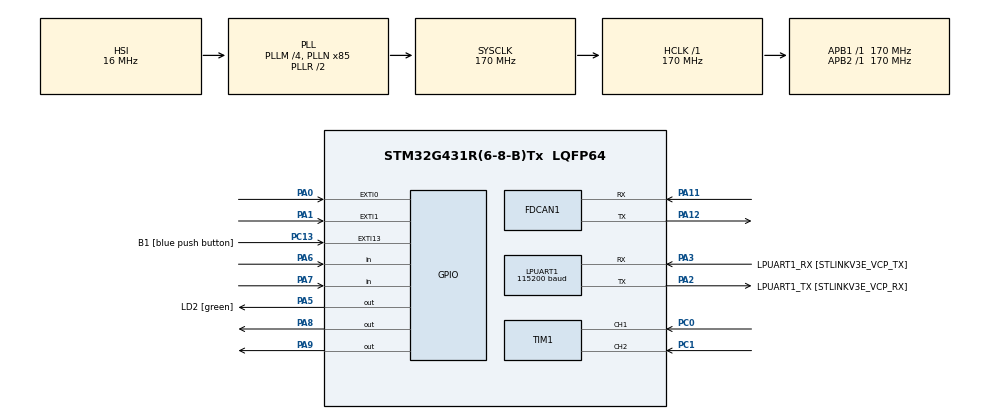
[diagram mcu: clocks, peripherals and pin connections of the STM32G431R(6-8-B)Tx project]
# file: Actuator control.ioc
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FDCAN1.CalculateBaudRateNominal=2125000
FDCAN1.CalculateTimeBitNominal=470
FDCAN1.CalculateTimeQuantumNominal=94.11764705882354
FREERTOS.BinarySemaphores01=myBinarySem01,Dynamic,NULL;myBinarySem02,Dynamic,NULL;myBinarySem03,Dynamic,NULL
FREERTOS.Tasks01=RelayControl,-1,128,RelayControlTask,Default,NULL,Dynamic,NULL,NULL;EncoderContol,0,128,EncoderTask,Default,NULL,Dynamic,NULL,NULL;PIDContol,1,128,PIDControllerTask,Default,NULL,Dynamic,NULL,NULL
FREERTOS.configUSE_NEWLIB_REENTRANT=1
LPUART1.BaudRate=115200
LPUART1.WordLength=UART_WORDLENGTH_8B
Mcu.Family=STM32G4
Mcu.Name=STM32G431R(6-8-B)Tx
Mcu.Package=LQFP64
NVIC.EXTI0_IRQn=true\:5\:0\:false\:false\:true\:true\:true\:true\:true
NVIC.EXTI1_IRQn=true\:5\:0\:false\:false\:true\:true\:true\:true\:true
NVIC.PriorityGroup=NVIC_PRIORITYGROUP_4
NVIC.TIM6_DAC_IRQn=true\:15\:0\:false\:false\:true\:false\:false\:true\:true
NVIC.TimeBase=TIM6_DAC_IRQn
NVIC.TimeBaseIP=TIM6
PA0.Signal=GPXTI0
PA1.Signal=GPXTI1
PA11.Mode=FDCAN_Activate
PA11.Signal=FDCAN1_RX
PA12.Mode=FDCAN_Activate
PA12.Signal=FDCAN1_TX
PA13.GPIO_Label=T_SWDIO
PA13.Mode=Serial_Wire
PA13.Signal=SYS_JTMS-SWDIO
PA14.GPIO_Label=T_SWCLK
PA14.Mode=Serial_Wire
PA14.Signal=SYS_JTCK-SWCLK
PA2.GPIO_Label=LPUART1_TX [STLINKV3E_VCP_RX]
PA2.Mode=Asynchronous
PA2.Signal=LPUART1_TX
PA3.GPIO_Label=LPUART1_RX [STLINKV3E_VCP_TX]
PA3.Mode=Asynchronous
PA3.Signal=LPUART1_RX
PA5.GPIO_Label=LD2 [green]
PA5.Signal=GPIO_Output
PA6.Signal=GPIO_Input
PA7.Signal=GPIO_Input
PA8.Signal=GPIO_Output
PA9.Signal=GPIO_Output
PB3.GPIO_Label=T_SWO
PB3.Signal=SYS_JTDO-SWO
PC0.Signal=S_TIM1_CH1
PC1.Signal=S_TIM1_CH2
PC13.GPIO_Label=B1 [blue push button]
PC13.Signal=GPXTI13
PC14-OSC32_IN.Mode=LSE-External-Oscillator
PC14-OSC32_IN.Signal=RCC_OSC32_IN
PC15-OSC32_OUT.Mode=LSE-External-Oscillator
PC15-OSC32_OUT.Signal=RCC_OSC32_OUT
PF0-OSC_IN.Mode=HSE-External-Oscillator
PF0-OSC_IN.Signal=RCC_OSC_IN
PF1-OSC_OUT.Mode=HSE-External-Oscillator
PF1-OSC_OUT.Signal=RCC_OSC_OUT
ProjectManager.HeapSize=0x200
ProjectManager.StackSize=0x400
ProjectManager.TargetToolchain=STM32CubeIDE
RCC.ADC12Freq_Value=170000000
RCC.AHBFreq_Value=170000000
RCC.APB1Freq_Value=170000000
RCC.APB1TimFreq_Value=170000000
RCC.APB2Freq_Value=170000000
RCC.APB2TimFreq_Value=170000000
RCC.CortexFreq_Value=170000000
RCC.EXTERNAL_CLOCK_VALUE=12288000
RCC.HCLKFreq_Value=170000000
RCC.HSE_VALUE=24000000
RCC.HSI48_VALUE=48000000
RCC.HSI_VALUE=16000000
RCC.PLLM=RCC_PLLM_DIV4
RCC.PLLN=85
RCC.RTCClockSelection=RCC_RTCCLKSOURCE_LSE
RCC.SYSCLKFreq_VALUE=170000000
RCC.SYSCLKSource=RCC_SYSCLKSOURCE_PLLCLK
RCC.USBFreq_Value=170000000
RCC.VCOOutputFreq_Value=340000000
SH.S_TIM1_CH1.0=TIM1_CH1,Encoder_Interface
SH.S_TIM1_CH2.0=TIM1_CH2,Encoder_Interface
TIM1.AutoReloadPreload=TIM_AUTORELOAD_PRELOAD_ENABLE
TIM1.EncoderMode=TIM_ENCODERMODE_TI12
VP_FREERTOS_VS_CMSIS_V1.Mode=CMSIS_V1
VP_SYS_VS_DBSignals.Mode=DisableDeadBatterySignals
VP_SYS_VS_tim6.Mode=TIM6
board=NUCLEO-G431RB

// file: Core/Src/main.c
/* USER CODE BEGIN Header */
/**
  ******************************************************************************
  * @file           : main.c
  * @brief          : Main program body
  * @code copyrights: Dhinesh Kumar S B.E EIE, M.Tech EDT (Embedded Domain)
  ******************************************************************************
  * @attention
  *
  * Copyright (c) 2023 STMicroelectronics.
  * All rights reserved.
  *
  * This software is licensed under terms that can be found in the LICENSE file
  * in the root directory of this software component.
  * If no LICENSE file comes with this software, it is provided AS-IS.
  *
  ******************************************************************************
  */
/* USER CODE END Header */
#include "main.h"
#include "cmsis_os.h"

/* USER CODE BEGIN Includes */
#include "pid.h"
#include "stdlib.h"
#include "math.h"
#include "stdio.h"
/* USER CODE END Includes */

/* USER CODE BEGIN PD */
// Define pins for rotary encoder
#define ENCODER_A_Pin GPIO_PIN_6
#define ENCODER_A_GPIO_Port GPIOA
#define ENCODER_B_Pin GPIO_PIN_7
#define ENCODER_B_GPIO_Port GPIOA
#define ANGLE_PER_PULSE 0.9 // degrees per encoder pulse
#define PULSES_PER_REV 400 // pulses per revolution
/* Define the pins for the relays */
#define RELAY1_Pin GPIO_PIN_8
#define RELAY1_GPIO_Port GPIOA
#define RELAY2_Pin GPIO_PIN_9
#define RELAY2_GPIO_Port GPIOA
/* USER CODE END PD */

FDCAN_HandleTypeDef hfdcan1;

UART_HandleTypeDef hlpuart1;

TIM_HandleTypeDef htim1;

osThreadId RelayControlHandle;
osThreadId EncoderContolHandle;
osThreadId PIDContolHandle;
osSemaphoreId myBinarySem01Handle;
osSemaphoreId myBinarySem02Handle;
osSemaphoreId myBinarySem03Handle;

void SystemClock_Config(void);
static void MX_GPIO_Init(void);
static void MX_LPUART1_UART_Init(void);
static void MX_TIM1_Init(void);
static void MX_FDCAN1_Init(void);
void RelayControlTask(void const * argument);
void EncoderTask(void const * argument);
void PIDControllerTask(void const * argument);

int main(void)
{

  /* MCU Configuration--------------------------------------------------------*/

  /* Reset of all peripherals, Initializes the Flash interface and the Systick. */
	HAL_Init();

  /* Configure the system clock */
  SystemClock_Config();

  /* Initialize all configured peripherals */
  MX_GPIO_Init();
  MX_LPUART1_UART_Init();
  MX_TIM1_Init();
  MX_FDCAN1_Init();

  /* Create the semaphores(s) */
  /* definition and creation of myBinarySem01 */
  osSemaphoreDef(myBinarySem01);
  myBinarySem01Handle = osSemaphoreCreate(osSemaphore(myBinarySem01), 1);

  /* definition and creation of myBinarySem02 */
  osSemaphoreDef(myBinarySem02);
  myBinarySem02Handle = osSemaphoreCreate(osSemaphore(myBinarySem02), 1);

  /* definition and creation of myBinarySem03 */
  osSemaphoreDef(myBinarySem03);
  myBinarySem03Handle = osSemaphoreCreate(osSemaphore(myBinarySem03), 1);

  /* Create the thread(s) */
  /* definition and creation of RelayControl */
  osThreadDef(RelayControl, RelayControlTask, osPriorityNormal, 0, 128);
  RelayControlHandle = osThreadCreate(osThread(RelayControl), NULL);

  /* definition and creation of EncoderContol */
  osThreadDef(EncoderContol, EncoderTask, osPriorityBelowNormal, 0, 128);
  EncoderContolHandle = osThreadCreate(osThread(EncoderContol), NULL);

  /* definition and creation of PIDContol */
  osThreadDef(PIDContol, PIDControllerTask, osPriorityAboveNormal, 0, 128);
  PIDContolHandle = osThreadCreate(osThread(PIDContol), NULL);

  /* Start scheduler */
  osKernelStart();

  /* We should never get here as control is now taken by the scheduler */
  /* Infinite loop */
  while (1)
  {

  }
}

void SystemClock_Config(void)
{
  RCC_OscInitTypeDef RCC_OscInitStruct = {0};
  RCC_ClkInitTypeDef RCC_ClkInitStruct = {0};

  /** Configure the main internal regulator output voltage
  */
  HAL_PWREx_ControlVoltageScaling(PWR_REGULATOR_VOLTAGE_SCALE1_BOOST);

  /** Initializes the RCC Oscillators according to the specified parameters
  * in the RCC_OscInitTypeDef structure.
  */
  RCC_OscInitStruct.OscillatorType = RCC_OSCILLATORTYPE_HSI;
  RCC_OscInitStruct.HSIState = RCC_HSI_ON;
  RCC_OscInitStruct.HSICalibrationValue = RCC_HSICALIBRATION_DEFAULT;
  RCC_OscInitStruct.PLL.PLLState = RCC_PLL_ON;
  RCC_OscInitStruct.PLL.PLLSource = RCC_PLLSOURCE_HSI;
  RCC_OscInitStruct.PLL.PLLM = RCC_PLLM_DIV4;
  RCC_OscInitStruct.PLL.PLLN = 85;
  RCC_OscInitStruct.PLL.PLLP = RCC_PLLP_DIV2;
  RCC_OscInitStruct.PLL.PLLQ = RCC_PLLQ_DIV2;
  RCC_OscInitStruct.PLL.PLLR = RCC_PLLR_DIV2;
  if (HAL_RCC_OscConfig(&RCC_OscInitStruct) != HAL_OK)
  {
    Error_Handler();
  }

  /** Initializes the CPU, AHB and APB buses clocks
  */
  RCC_ClkInitStruct.ClockType = RCC_CLOCKTYPE_HCLK|RCC_CLOCKTYPE_SYSCLK
                              |RCC_CLOCKTYPE_PCLK1|RCC_CLOCKTYPE_PCLK2;
  RCC_ClkInitStruct.SYSCLKSource = RCC_SYSCLKSOURCE_PLLCLK;
  RCC_ClkInitStruct.AHBCLKDivider = RCC_SYSCLK_DIV1;
  RCC_ClkInitStruct.APB1CLKDivider = RCC_HCLK_DIV1;
  RCC_ClkInitStruct.APB2CLKDivider = RCC_HCLK_DIV1;

  if (HAL_RCC_ClockConfig(&RCC_ClkInitStruct, FLASH_LATENCY_4) != HAL_OK)
  {
    Error_Handler();
  }
}

static void MX_FDCAN1_Init(void)
{

  hfdcan1.Instance = FDCAN1;
  hfdcan1.Init.ClockDivider = FDCAN_CLOCK_DIV1;
  hfdcan1.Init.FrameFormat = FDCAN_FRAME_CLASSIC;
  hfdcan1.Init.Mode = FDCAN_MODE_NORMAL;
  hfdcan1.Init.AutoRetransmission = DISABLE;
  hfdcan1.Init.TransmitPause = DISABLE;
  hfdcan1.Init.ProtocolException = DISABLE;
  hfdcan1.Init.NominalPrescaler = 16;
  hfdcan1.Init.NominalSyncJumpWidth = 1;
  hfdcan1.Init.NominalTimeSeg1 = 2;
  hfdcan1.Init.NominalTimeSeg2 = 2;
  hfdcan1.Init.DataPrescaler = 1;
  hfdcan1.Init.DataSyncJumpWidth = 1;
  hfdcan1.Init.DataTimeSeg1 = 1;
  hfdcan1.Init.DataTimeSeg2 = 1;
  hfdcan1.Init.StdFiltersNbr = 0;
  hfdcan1.Init.ExtFiltersNbr = 0;
  hfdcan1.Init.TxFifoQueueMode = FDCAN_TX_FIFO_OPERATION;
  if (HAL_FDCAN_Init(&hfdcan1) != HAL_OK)
  {
    Error_Handler();
  }

}

static void MX_LPUART1_UART_Init(void)
{

  hlpuart1.Instance = LPUART1;
  hlpuart1.Init.BaudRate = 115200;
  hlpuart1.Init.WordLength = UART_WORDLENGTH_8B;
  hlpuart1.Init.StopBits = UART_STOPBITS_1;
  hlpuart1.Init.Parity = UART_PARITY_NONE;
  hlpuart1.Init.Mode = UART_MODE_TX_RX;
  hlpuart1.Init.HwFlowCtl = UART_HWCONTROL_NONE;
  hlpuart1.Init.OneBitSampling = UART_ONE_BIT_SAMPLE_DISABLE;
  hlpuart1.Init.ClockPrescaler = UART_PRESCALER_DIV1;
  hlpuart1.AdvancedInit.AdvFeatureInit = UART_ADVFEATURE_NO_INIT;
  if (HAL_UART_Init(&hlpuart1) != HAL_OK)
  {
    Error_Handler();
  }
  if (HAL_UARTEx_SetTxFifoThreshold(&hlpuart1, UART_TXFIFO_THRESHOLD_1_8) != HAL_OK)
  {
    Error_Handler();
  }
  if (HAL_UARTEx_SetRxFifoThreshold(&hlpuart1, UART_RXFIFO_THRESHOLD_1_8) != HAL_OK)
  {
    Error_Handler();
  }
  if (HAL_UARTEx_DisableFifoMode(&hlpuart1) != HAL_OK)
  {
    Error_Handler();
  }

}

static void MX_TIM1_Init(void)
{

  TIM_Encoder_InitTypeDef sConfig = {0};
  TIM_MasterConfigTypeDef sMasterConfig = {0};

  htim1.Instance = TIM1;
  htim1.Init.Prescaler = 0;
  htim1.Init.CounterMode = TIM_COUNTERMODE_UP;
  htim1.Init.Period = 65535;
  htim1.Init.ClockDivision = TIM_CLOCKDIVISION_DIV1;
  htim1.Init.RepetitionCounter = 0;
  htim1.Init.AutoReloadPreload = TIM_AUTORELOAD_PRELOAD_ENABLE;
  sConfig.EncoderMode = TIM_ENCODERMODE_TI12;
  sConfig.IC1Polarity = TIM_ICPOLARITY_RISING;
  sConfig.IC1Selection = TIM_ICSELECTION_DIRECTTI;
  sConfig.IC1Prescaler = TIM_ICPSC_DIV1;
  sConfig.IC1Filter = 0;
  sConfig.IC2Polarity = TIM_ICPOLARITY_RISING;
  sConfig.IC2Selection = TIM_ICSELECTION_DIRECTTI;
  sConfig.IC2Prescaler = TIM_ICPSC_DIV1;
  sConfig.IC2Filter = 0;
  if (HAL_TIM_Encoder_Init(&htim1, &sConfig) != HAL_OK)
  {
    Error_Handler();
  }
  sMasterConfig.MasterOutputTrigger = TIM_TRGO_RESET;
  sMasterConfig.MasterOutputTrigger2 = TIM_TRGO2_RESET;
  sMasterConfig.MasterSlaveMode = TIM_MASTERSLAVEMODE_DISABLE;
  if (HAL_TIMEx_MasterConfigSynchronization(&htim1, &sMasterConfig) != HAL_OK)
  {
    Error_Handler();
  }

}

static void MX_GPIO_Init(void)
{
  GPIO_InitTypeDef GPIO_InitStruct = {0};

  /* GPIO Ports Clock Enable */
  __HAL_RCC_GPIOC_CLK_ENABLE();
  __HAL_RCC_GPIOF_CLK_ENABLE();
  __HAL_RCC_GPIOA_CLK_ENABLE();
  __HAL_RCC_GPIOB_CLK_ENABLE();

  /*Configure GPIO pin Output Level */
  HAL_GPIO_WritePin(GPIOA, LD2_Pin|GPIO_PIN_8|GPIO_PIN_9, GPIO_PIN_RESET);

  /*Configure GPIO pin : B1_Pin */
  GPIO_InitStruct.Pin = B1_Pin;
  GPIO_InitStruct.Mode = GPIO_MODE_IT_RISING;
  GPIO_InitStruct.Pull = GPIO_NOPULL;
  HAL_GPIO_Init(B1_GPIO_Port, &GPIO_InitStruct);

  /*Configure GPIO pins : PA0 PA1 */
  GPIO_InitStruct.Pin = GPIO_PIN_0|GPIO_PIN_1;
  GPIO_InitStruct.Mode = GPIO_MODE_IT_RISING;
  GPIO_InitStruct.Pull = GPIO_NOPULL;
  HAL_GPIO_Init(GPIOA, &GPIO_InitStruct);

  /*Configure GPIO pins : LD2_Pin PA8 PA9 */
  GPIO_InitStruct.Pin = LD2_Pin|GPIO_PIN_8|GPIO_PIN_9;
  GPIO_InitStruct.Mode = GPIO_MODE_OUTPUT_PP;
  GPIO_InitStruct.Pull = GPIO_NOPULL;
  GPIO_InitStruct.Speed = GPIO_SPEED_FREQ_LOW;
  HAL_GPIO_Init(GPIOA, &GPIO_InitStruct);

  /*Configure GPIO pins : PA6 PA7 */
  GPIO_InitStruct.Pin = GPIO_PIN_6|GPIO_PIN_7;
  GPIO_InitStruct.Mode = GPIO_MODE_INPUT;
  GPIO_InitStruct.Pull = GPIO_NOPULL;
  HAL_GPIO_Init(GPIOA, &GPIO_InitStruct);

  /* EXTI interrupt init*/
  HAL_NVIC_SetPriority(EXTI0_IRQn, 5, 0);
  HAL_NVIC_EnableIRQ(EXTI0_IRQn);

  HAL_NVIC_SetPriority(EXTI1_IRQn, 5, 0);
  HAL_NVIC_EnableIRQ(EXTI1_IRQn);

}

/* USER CODE BEGIN 4 */
volatile int32_t counter = 0;
volatile int32_t temp = 0;
volatile int32_t buf;
volatile int32_t buffer, buff;
volatile float angle = 0.0;

/* PID parameters */
float Kp = 1;
float Ki = 0.2;
float Kd = 0.1;

/* Feedback parameters */
//volatile long counter = 0;
float setpoint = 45; // Setpoint in degrees
float feedback = 0;
float error = 0;
float last_error = 0;
float integral = 0;
float derivative = 0;
float output = 0;
volatile float last_feedback;

/* Anti-windup parameters */
float windup_guard = 100;
float proportional_on_measurement = 0;

void HAL_GPIO_EXTI_Callback(uint16_t GPIO_Pin)
{//semtake
	BaseType_t xHigherPriorityTaskWoken = pdFALSE;
	//xSemaphoreTakeFromISR(myBinarySem01Handle, portMAX_DELAY);
	if(GPIO_Pin == ENCODER_A_Pin) // Encoder pin A
		  {
		    if(HAL_GPIO_ReadPin(ENCODER_B_GPIO_Port, ENCODER_B_Pin) == GPIO_PIN_RESET) // Check pin B to determine direction
		    {
		      counter++; // Increment counter
		    }
		    else
		    {
		      counter--; // Decrement counter
		    }
		  }

		  else if(GPIO_Pin == ENCODER_B_Pin) // Encoder pin B
		  {
		    if(HAL_GPIO_ReadPin(ENCODER_A_GPIO_Port, ENCODER_A_Pin) == GPIO_PIN_RESET) // Check pin A to determine direction
		    {
		      counter--; // Decrement counter
		    }
		    else
		    {
		      counter++; // Increment counter
		    }
		  }

	xTaskNotifyFromISR( EncoderContolHandle, 0, eNoAction, &xHigherPriorityTaskWoken);
	  xSemaphoreGiveFromISR(myBinarySem01Handle, &xHigherPriorityTaskWoken);
	  portYIELD_FROM_ISR(xHigherPriorityTaskWoken);
	//semgive
}
/* USER CODE END 4 */

void RelayControlTask(void const * argument)
{
  /* USER CODE BEGIN 5 */
  /* Infinite loop */
  for(;;)
  {
	 // HAL_GPIO_WritePin(RELAY1_GPIO_Port, RELAY1_Pin, GPIO_PIN_SET);
	  /*HAL_GPIO_WritePin(GPIOA, GPIO_PIN_8, RESET);
    osDelay(1000);
    HAL_GPIO_WritePin(GPIOA, GPIO_PIN_8, SET);
    osDelay(1000);*/
  }
  /* USER CODE END 5 */
}

void EncoderTask(void const * argument)
{
  /* USER CODE BEGIN EncoderTask */
  /* Infinite loop */
  for(;;)
  {
	 ulTaskNotifyTake(pdTRUE, portMAX_DELAY);
	  if(counter != temp)
	  	      {
		  	    angle = (float)counter * ANGLE_PER_PULSE / PULSES_PER_REV;
	  	        sprintf(buf, "Counter: %ld\n", counter); // Send counter value over serial
	  	        HAL_UART_Transmit(&hlpuart1, (uint8_t *)buf, strlen(buf), 100);
	  	      sprintf(buffer, "Angle: %f degree\r\n", angle);
	  	         HAL_UART_Transmit(&hlpuart1, (uint8_t*)buffer, strlen(buffer), HAL_MAX_DELAY);
	  	        temp = counter; // Update temporary variable with current counter value
	  	      }
    osDelay(1);
  }
  /* USER CODE END EncoderTask */
}

void PIDControllerTask(void const * argument)
{
  /* USER CODE BEGIN PIDControllerTask */
  /* Infinite loop */
  for(;;)
  {
	  if(setpoint)
	  {
		  HAL_GPIO_WritePin(RELAY1_GPIO_Port, RELAY1_Pin, GPIO_PIN_SET);
		  HAL_GPIO_WritePin(RELAY2_GPIO_Port, RELAY2_Pin, GPIO_PIN_RESET);
	  }
	  else
	  {
	  	  HAL_GPIO_WritePin(RELAY1_GPIO_Port, RELAY1_Pin, GPIO_PIN_RESET);
	      HAL_GPIO_WritePin(RELAY2_GPIO_Port, RELAY2_Pin, GPIO_PIN_SET);
	  }
	  if (xSemaphoreTakeFromISR(myBinarySem01Handle, portMAX_DELAY) == pdTRUE)
	  {
	  // Read the feedback value from the encoder and convert it to angle */
	  //semtake
	  feedback = ((float)counter / 1600) * 360;

	  /* Calculate the error between the setpoint and feedback */
	  error = setpoint - feedback;

	  /* Calculate the integral error over time */
	  integral += error;

	  /* Limit the integral error to avoid windup */
	  if (integral > windup_guard)
	  {
	    integral = windup_guard;
	  }
	  else if (integral < -windup_guard)
	  {
	    integral = -windup_guard;
	  }

	  /* Calculate the derivative error over time */
	  if (proportional_on_measurement)
	  {
	    derivative = feedback - last_feedback;
	  }
	  else
	  {
	    derivative = error - last_error;
	  }

	  /* Calculate the output value to the actuator using PID algorithm */
	  output = Kp * error + Ki * integral + Kd * derivative;

	  /* Send the output value to the actuator */
	  __HAL_TIM_SET_COMPARE(&htim1, TIM_CHANNEL_1, output);

	  /* Save the error and feedback values for the next iteration */
	  last_error = error;

	  /* Send the value of counter in angle */
	  sprintf(buff,"Angle: %.2f\r\n", feedback);
	  HAL_UART_Transmit(&hlpuart1,(uint8_t)buff, strlen(buff), 500);

	  if (output >= 0)
	          {
	              HAL_GPIO_WritePin(RELAY1_GPIO_Port, RELAY1_Pin, GPIO_PIN_SET);
	              HAL_GPIO_WritePin(RELAY2_GPIO_Port, RELAY2_Pin, GPIO_PIN_RESET);
	          }
	  else
	          {
	              HAL_GPIO_WritePin(RELAY1_GPIO_Port, RELAY1_Pin, GPIO_PIN_RESET);
	              HAL_GPIO_WritePin(RELAY2_GPIO_Port, RELAY2_Pin, GPIO_PIN_SET);
	          }

	  /*HAL_GPIO_WritePin(GPIOA, GPIO_PIN_8, RESET);
	     osDelay(1000);
	     HAL_GPIO_WritePin(GPIOA, GPIO_PIN_8, SET);
	     osDelay(1000);*/
    //osDelay(1);
  }//semgive

  }
  /* USER CODE END PIDControllerTask */
}

void HAL_TIM_PeriodElapsedCallback(TIM_HandleTypeDef *htim)
{
  if (htim->Instance == TIM6) {
    HAL_IncTick();
  }
}

void Error_Handler(void)
{
  __disable_irq();
  while (1)
  {
  }
}
